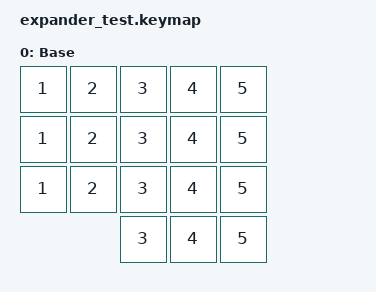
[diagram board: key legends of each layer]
/*
 *
 * SPDX-License-Identifier: MIT
 */

#include <behaviors.dtsi>
#include <dt-bindings/zmk/keys.h>

/ {
    keymap {
        compatible = "zmk,keymap";

        default_layer {
            label = " Base";
            bindings = <
            &kp N1 &kp N2 &kp N3 &kp N4 &kp N5
            &kp N1 &kp N2 &kp N3 &kp N4 &kp N5
            &kp N1 &kp N2 &kp N3 &kp N4 &kp N5
                          &kp N3 &kp N4 &kp N5
            >;
        };
    };
};


